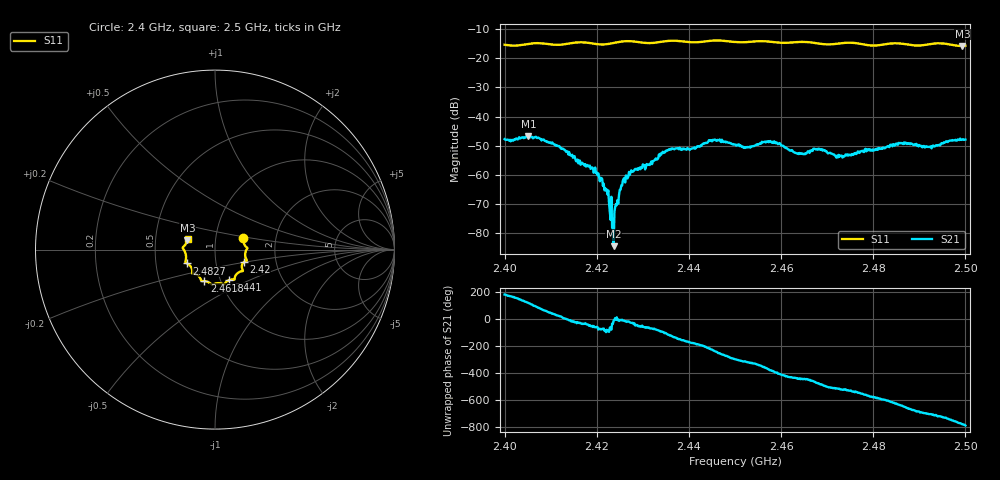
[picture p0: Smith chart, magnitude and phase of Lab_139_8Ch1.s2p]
# Hz S RI R 50
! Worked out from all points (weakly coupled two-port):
!   601 points, 2.4 GHz to 2.5 GHz, reference 50 ohm
!   highest |S21| = -46.79 dB at 2.4052 GHz (marker M1); lowest = -84.3 dB at 2.4237 GHz (marker M2)
!   lowest |S11| = -15.8 dB at 2.4993 GHz (marker M3), VSWR 1.39, Z = 36.5 + j3.83 ohm
!   |S11| at or under -10 dB: start of sweep to end of sweep
!   S12 and S22 are empty: the file has one direction only
!   S11 on the Smith chart (normalised r, x): 2.4 GHz: 1.36, +0.18; 2.42 GHz: 1.36, -0.20; 2.441 GHz: 1.10, -0.39; 2.4618 GHz: 0.84, -0.30; 2.4827 GHz: 0.72, -0.11; 2.5 GHz: 0.73, +0.09
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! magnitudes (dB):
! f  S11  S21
! 2.4 GHz  -15.4  -47.7
! 2.4052 GHz  -15.1  -46.8
! 2.4115 GHz  -15.4  -50.0
! 2.4167 GHz  -14.5  -55.9
! 2.42 GHz  -15.2  -59.1
! 2.422 GHz  -15.2  -65.3
! 2.4232 GHz  -14.9  -67.4
! 2.4237 GHz  -14.8  -84.3
! 2.426 GHz  -14.2  -61.0
! 2.4333 GHz  -14.5  -54.2
! 2.436 GHz  -14.0  -51.0
! 2.441 GHz  -14.6  -50.8
! 2.4452 GHz  -14.0  -47.9
! 2.45 GHz  -14.4  -49.6
! 2.4573 GHz  -14.3  -48.8
! 2.4618 GHz  -14.7  -51.6
! 2.4667 GHz  -14.6  -51.5
! 2.4732 GHz  -14.8  -53.3
! 2.4827 GHz  -15.2  -50.5
! 2.4833 GHz  -15.0  -50.2
! 2.4993 GHz  -15.8  -47.9
! 2.5 GHz  -15.7  -47.8
